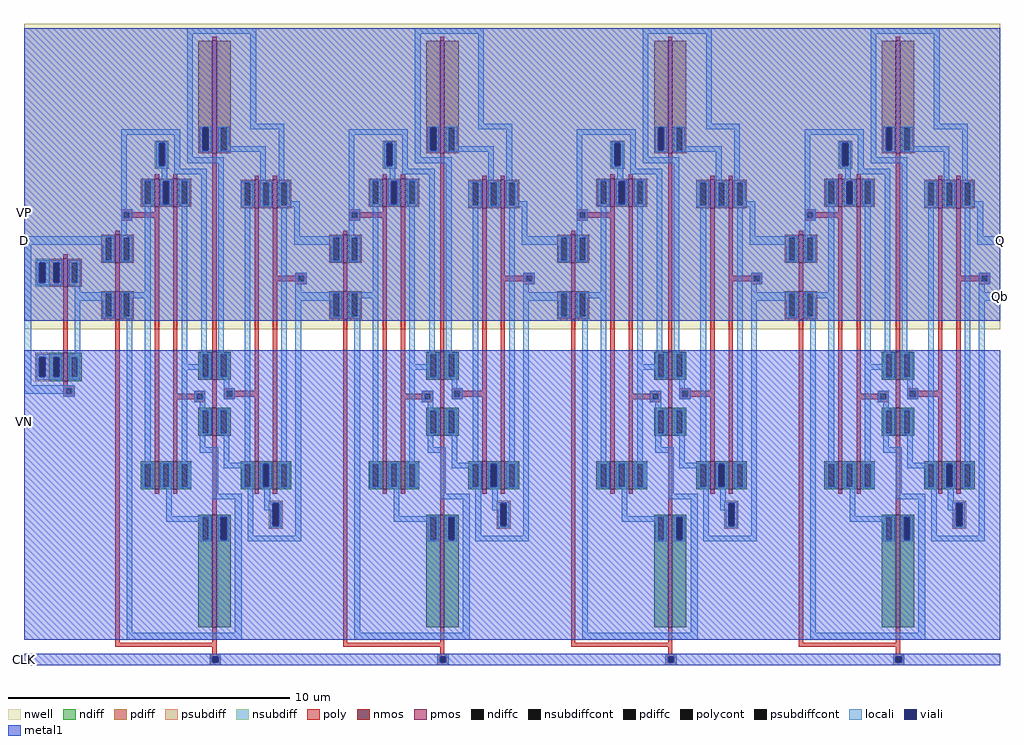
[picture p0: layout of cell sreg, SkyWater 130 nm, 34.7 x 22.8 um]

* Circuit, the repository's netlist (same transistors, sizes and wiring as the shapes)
* NGSPICE file created from sreg.ext - technology: sky130A

.subckt sreg_inverter A Y VP VN
X0 Y A VN VN sky130_fd_pr__nfet_01v8 ad=0.5 pd=3 as=0.5 ps=3 w=1 l=0.15
X1 Y A VP VP sky130_fd_pr__pfet_01v8 ad=0.5 pd=3 as=0.5 ps=3 w=1 l=0.15
.ends

.subckt d_flipflop Db D Q Qb VP VN CLK
X0 a_n230_1560# a_n230_1160# VP VP sky130_fd_pr__pfet_01v8 ad=0.5 pd=3 as=0.25 ps=1.5 w=1 l=0.15
X1 a_n230_1560# a_n230_1160# a_50_n50# VN sky130_fd_pr__nfet_01v8 ad=0.5 pd=3 as=0.25 ps=1.5 w=1 l=0.15
X2 Qb CLK a_n230_1160# VN sky130_fd_pr__nfet_01v8 ad=0.5 pd=3 as=0.5 ps=3 w=1 l=0.15
X3 a_460_2340# CLK VP VP sky130_fd_pr__pfet_01v8 ad=2 pd=9 as=2 ps=9 w=4 l=0.15
X4 Q Qb a_460_2340# VP sky130_fd_pr__pfet_01v8 ad=0.5 pd=3 as=0.25 ps=1.5 w=1 l=0.15
X5 a_460_2340# Q Qb VP sky130_fd_pr__pfet_01v8 ad=0.25 pd=1.5 as=0.5 ps=3 w=1 l=0.15
X6 a_50_n50# a_n230_1560# a_n230_1160# VN sky130_fd_pr__nfet_01v8 ad=0.25 pd=1.5 as=0.5 ps=3 w=1 l=0.15
X7 a_n230_1560# CLK D VP sky130_fd_pr__pfet_01v8 ad=0.5 pd=3 as=0.5 ps=3 w=1 l=0.15
X8 Q Qb VN VN sky130_fd_pr__nfet_01v8 ad=0.5 pd=3 as=0.25 ps=1.5 w=1 l=0.15
X9 VN Q Qb VN sky130_fd_pr__nfet_01v8 ad=0.25 pd=1.5 as=0.5 ps=3 w=1 l=0.15
X10 VN CLK a_50_n50# VN sky130_fd_pr__nfet_01v8 ad=2 pd=9 as=2 ps=9 w=4 l=0.15
X11 VP a_n230_1560# a_n230_1160# VP sky130_fd_pr__pfet_01v8 ad=0.25 pd=1.5 as=0.5 ps=3 w=1 l=0.15
X12 Q CLK a_n230_1560# VN sky130_fd_pr__nfet_01v8 ad=0.5 pd=3 as=0.5 ps=3 w=1 l=0.15
X13 a_n230_1160# CLK Db VP sky130_fd_pr__pfet_01v8 ad=0.5 pd=3 as=0.5 ps=3 w=1 l=0.15
.ends


* Top level circuit sreg

Xsreg_inverter_0 D d_flipflop_0/Db VP VN sreg_inverter
Xd_flipflop_0 d_flipflop_0/Db D d_flipflop_1/D d_flipflop_1/Db VP VN CLK d_flipflop
Xd_flipflop_1 d_flipflop_1/Db d_flipflop_1/D d_flipflop_2/D d_flipflop_2/Db VP VN
+ CLK d_flipflop
Xd_flipflop_2 d_flipflop_2/Db d_flipflop_2/D d_flipflop_3/D d_flipflop_3/Db VP VN
+ CLK d_flipflop
Xd_flipflop_3 d_flipflop_3/Db d_flipflop_3/D Q Qb VP VN CLK d_flipflop
.end

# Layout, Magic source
magic
tech sky130A
<< locali >>
rect 0 1495 230 1525
rect 3450 1495 3470 1525
rect 0 980 25 1495
rect 3450 1295 3470 1325
<< metal1 >>
rect 0 1225 20 2265
rect 0 90 20 1120
rect 0 0 240 40
use d_flipflop  d_flipflop_0
transform 1 0 455 0 1 650
box -240 -650 585 1630
use d_flipflop  d_flipflop_1
transform 1 0 1265 0 1 650
box -240 -650 585 1630
use d_flipflop  d_flipflop_2
transform 1 0 2075 0 1 650
box -240 -650 585 1630
use d_flipflop  d_flipflop_3
transform 1 0 2885 0 1 650
box -240 -650 585 1630
use sreg_inverter  sreg_inverter_0
transform 1 0 35 0 1 0
box -35 90 195 2280
<< labels >>
rlabel locali 3470 1310 3470 1310 3 Qb
rlabel locali 3470 1510 3470 1510 3 Q
rlabel metal1 0 865 0 865 7 VN
rlabel metal1 0 1610 0 1610 7 VP
rlabel metal1 0 20 0 20 7 CLK
rlabel locali 0 1510 0 1510 7 D
<< end >>

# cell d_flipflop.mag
magic
tech sky130A
<< nwell >>
rect -240 545 585 1630
<< nmos >>
rect 215 365 230 465
rect 215 165 230 265
rect 10 -25 25 75
rect 75 -25 90 75
rect 365 -25 380 75
rect 430 -25 445 75
rect 215 -515 230 -115
<< pmos >>
rect 215 1170 230 1570
rect 10 980 25 1080
rect 75 980 90 1080
rect -130 780 -115 880
rect -130 580 -115 680
rect 365 975 380 1075
rect 430 975 445 1075
<< ndiff >>
rect 165 455 215 465
rect 165 375 180 455
rect 200 375 215 455
rect 165 365 215 375
rect 230 455 280 465
rect 230 375 245 455
rect 265 375 280 455
rect 230 365 280 375
rect 165 255 215 265
rect 165 175 180 255
rect 200 175 215 255
rect 165 165 215 175
rect 230 255 280 265
rect 230 175 245 255
rect 265 175 280 255
rect 230 165 280 175
rect -40 65 10 75
rect -40 -15 -25 65
rect -5 -15 10 65
rect -40 -25 10 -15
rect 25 65 75 75
rect 25 -15 40 65
rect 60 -15 75 65
rect 25 -25 75 -15
rect 90 65 140 75
rect 90 -15 105 65
rect 125 -15 140 65
rect 90 -25 140 -15
rect 315 65 365 75
rect 315 -15 330 65
rect 350 -15 365 65
rect 315 -25 365 -15
rect 380 65 430 75
rect 380 -15 395 65
rect 415 -15 430 65
rect 380 -25 430 -15
rect 445 65 495 75
rect 445 -15 460 65
rect 480 -15 495 65
rect 445 -25 495 -15
rect 165 -125 215 -115
rect 165 -205 180 -125
rect 200 -205 215 -125
rect 165 -515 215 -205
rect 230 -125 280 -115
rect 230 -205 245 -125
rect 265 -205 280 -125
rect 230 -515 280 -205
<< pdiff >>
rect 165 1260 215 1570
rect 165 1180 180 1260
rect 200 1180 215 1260
rect 165 1170 215 1180
rect 230 1260 280 1570
rect 230 1180 245 1260
rect 265 1180 280 1260
rect 230 1170 280 1180
rect -40 1070 10 1080
rect -40 990 -25 1070
rect -5 990 10 1070
rect -40 980 10 990
rect 25 1070 75 1080
rect 25 990 40 1070
rect 60 990 75 1070
rect 25 980 75 990
rect 90 1070 140 1080
rect 90 990 105 1070
rect 125 990 140 1070
rect 90 980 140 990
rect -180 870 -130 880
rect -180 790 -165 870
rect -145 790 -130 870
rect -180 780 -130 790
rect -115 870 -65 880
rect -115 790 -100 870
rect -80 790 -65 870
rect -115 780 -65 790
rect -180 670 -130 680
rect -180 590 -165 670
rect -145 590 -130 670
rect -180 580 -130 590
rect -115 670 -65 680
rect -115 590 -100 670
rect -80 590 -65 670
rect -115 580 -65 590
rect 315 1065 365 1075
rect 315 985 330 1065
rect 350 985 365 1065
rect 315 975 365 985
rect 380 1065 430 1075
rect 380 985 395 1065
rect 415 985 430 1065
rect 380 975 430 985
rect 445 1065 495 1075
rect 445 985 460 1065
rect 480 985 495 1065
rect 445 975 495 985
<< ndiffc >>
rect 180 375 200 455
rect 245 375 265 455
rect 180 175 200 255
rect 245 175 265 255
rect -25 -15 -5 65
rect 40 -15 60 65
rect 105 -15 125 65
rect 330 -15 350 65
rect 395 -15 415 65
rect 460 -15 480 65
rect 180 -205 200 -125
rect 245 -205 265 -125
<< pdiffc >>
rect 180 1180 200 1260
rect 245 1180 265 1260
rect -25 990 -5 1070
rect 40 990 60 1070
rect 105 990 125 1070
rect -165 790 -145 870
rect -100 790 -80 870
rect -165 590 -145 670
rect -100 590 -80 670
rect 330 985 350 1065
rect 395 985 415 1065
rect 460 985 480 1065
<< psubdiff >>
rect 415 -75 465 -65
rect 415 -155 430 -75
rect 450 -155 465 -75
rect 415 -165 465 -155
<< nsubdiff >>
rect 10 1205 60 1215
rect 10 1125 25 1205
rect 45 1125 60 1205
rect 10 1115 60 1125
<< psubdiffcont >>
rect 430 -155 450 -75
<< nsubdiffcont >>
rect 25 1125 45 1205
<< poly >>
rect 215 1570 230 1585
rect 10 1080 25 1095
rect 75 1080 90 1095
rect -110 960 -70 970
rect 10 960 25 980
rect -110 940 -100 960
rect -80 940 25 960
rect -110 930 -70 940
rect -130 880 -115 895
rect -130 680 -115 780
rect -130 -570 -115 580
rect 10 75 25 940
rect 75 315 90 980
rect 215 465 230 1170
rect 365 1075 380 1090
rect 430 1075 445 1090
rect 150 315 190 325
rect 75 295 160 315
rect 180 295 190 315
rect 75 75 90 295
rect 150 285 190 295
rect 215 265 230 365
rect 255 325 295 335
rect 365 325 380 975
rect 255 305 265 325
rect 285 305 380 325
rect 255 295 295 305
rect 10 -40 25 -25
rect 75 -40 90 -25
rect 215 -115 230 165
rect 365 75 380 305
rect 430 735 445 975
rect 510 735 550 745
rect 430 715 520 735
rect 540 715 550 735
rect 430 75 445 715
rect 510 705 550 715
rect 365 -40 380 -25
rect 430 -40 445 -25
rect 215 -570 230 -515
rect -130 -585 230 -570
rect 215 -610 230 -585
rect 205 -620 245 -610
rect 205 -640 215 -620
rect 235 -640 245 -620
rect 205 -650 245 -640
<< polycont >>
rect -100 940 -80 960
rect 160 295 180 315
rect 265 305 285 325
rect 520 715 540 735
rect 215 -640 235 -620
<< locali >>
rect 125 1595 370 1615
rect -110 1235 100 1255
rect -110 970 -90 1235
rect 15 1205 55 1210
rect 15 1125 25 1205
rect 45 1125 55 1205
rect 15 1120 55 1125
rect 35 1075 55 1120
rect 80 1115 100 1235
rect 125 1155 145 1595
rect 350 1275 370 1595
rect 170 1260 210 1265
rect 170 1180 180 1260
rect 200 1180 210 1260
rect 170 1175 210 1180
rect 235 1260 275 1265
rect 235 1180 245 1260
rect 265 1195 275 1260
rect 350 1255 470 1275
rect 265 1180 405 1195
rect 235 1175 405 1180
rect 125 1135 255 1155
rect 80 1095 195 1115
rect -35 1070 5 1075
rect -35 990 -25 1070
rect -5 990 5 1070
rect -35 985 5 990
rect 30 1070 70 1075
rect 30 990 40 1070
rect 60 990 70 1070
rect 30 985 70 990
rect 95 1070 135 1075
rect 95 990 105 1070
rect 125 990 135 1070
rect 95 985 135 990
rect -110 960 -70 970
rect -110 940 -100 960
rect -80 940 -70 960
rect -110 930 -70 940
rect -110 875 -90 930
rect -240 870 -135 875
rect -240 845 -165 870
rect -175 790 -165 845
rect -145 790 -135 870
rect -175 785 -135 790
rect -110 870 -70 875
rect -110 790 -100 870
rect -80 790 -70 870
rect -110 785 -70 790
rect -25 675 -5 985
rect -240 670 -135 675
rect -240 645 -165 670
rect -175 590 -165 645
rect -145 590 -135 670
rect -175 585 -135 590
rect -110 670 -5 675
rect -110 590 -100 670
rect -80 655 -5 670
rect -80 590 -70 655
rect -110 585 -70 590
rect -90 -535 -70 585
rect -25 70 -5 655
rect 105 420 125 985
rect 175 460 195 1095
rect 235 460 255 1135
rect 385 1070 405 1175
rect 450 1070 470 1255
rect 315 1065 360 1070
rect 315 985 330 1065
rect 350 985 360 1065
rect 315 980 360 985
rect 385 1065 425 1070
rect 385 985 395 1065
rect 415 985 425 1065
rect 385 980 425 985
rect 450 1065 490 1070
rect 450 985 460 1065
rect 480 1000 490 1065
rect 480 985 525 1000
rect 450 980 525 985
rect 170 455 210 460
rect 170 420 180 455
rect 105 400 180 420
rect 105 70 125 400
rect 170 375 180 400
rect 200 375 210 455
rect 170 370 210 375
rect 235 455 275 460
rect 235 375 245 455
rect 265 375 275 455
rect 235 370 275 375
rect 255 335 275 370
rect 255 325 295 335
rect 150 315 190 325
rect 150 295 160 315
rect 180 295 190 315
rect 255 305 265 325
rect 285 305 295 325
rect 255 295 295 305
rect 150 285 190 295
rect 170 260 190 285
rect 170 255 210 260
rect 170 175 180 255
rect 200 175 210 255
rect 170 170 210 175
rect 235 255 275 260
rect 235 175 245 255
rect 265 175 275 255
rect 235 170 275 175
rect 170 125 190 170
rect 170 105 235 125
rect -35 65 5 70
rect -35 -15 -25 65
rect -5 -15 5 65
rect -35 -20 5 -15
rect 30 65 70 70
rect 30 -15 40 65
rect 60 -15 70 65
rect 30 -20 70 -15
rect 95 65 140 70
rect 95 -15 105 65
rect 125 -15 140 65
rect 95 -20 140 -15
rect 50 -120 70 -20
rect 215 -40 235 105
rect 255 70 275 170
rect 330 70 350 980
rect 460 70 480 980
rect 505 875 525 980
rect 505 845 585 875
rect 510 735 550 745
rect 510 715 520 735
rect 540 715 550 735
rect 510 705 550 715
rect 510 675 530 705
rect 510 645 585 675
rect 255 65 360 70
rect 255 50 330 65
rect 320 -15 330 50
rect 350 -15 360 65
rect 320 -20 360 -15
rect 385 65 425 70
rect 385 -15 395 65
rect 415 -15 425 65
rect 385 -20 425 -15
rect 450 65 490 70
rect 450 -15 460 65
rect 480 -15 490 65
rect 450 -20 490 -15
rect 215 -60 320 -40
rect 50 -125 210 -120
rect 50 -140 180 -125
rect 170 -205 180 -140
rect 200 -205 210 -125
rect 170 -210 210 -205
rect 235 -125 275 -120
rect 235 -205 245 -125
rect 265 -205 275 -125
rect 235 -210 275 -205
rect 295 -535 320 -60
rect 340 -190 360 -20
rect 400 -70 420 -20
rect 400 -75 460 -70
rect 400 -100 430 -75
rect 420 -155 430 -100
rect 450 -155 460 -75
rect 420 -160 460 -155
rect 510 -190 530 645
rect 340 -210 530 -190
rect -90 -560 320 -535
rect 205 -620 245 -610
rect 205 -640 215 -620
rect 235 -640 245 -620
rect 205 -650 245 -640
<< viali >>
rect 25 1125 45 1205
rect 180 1180 200 1260
rect 40 990 60 1070
rect 395 -15 415 65
rect 245 -205 265 -125
rect 430 -155 450 -75
rect 215 -640 235 -620
<< metal1 >>
rect -240 1260 585 1615
rect -240 1205 180 1260
rect -240 1125 25 1205
rect 45 1180 180 1205
rect 200 1180 585 1260
rect 45 1125 585 1180
rect -240 1070 585 1125
rect -240 990 40 1070
rect 60 990 585 1070
rect -240 575 585 990
rect -240 65 585 470
rect -240 -15 395 65
rect 415 -15 585 65
rect -240 -75 585 -15
rect -240 -125 430 -75
rect -240 -205 245 -125
rect 265 -155 430 -125
rect 450 -155 585 -75
rect 265 -205 585 -155
rect -240 -560 585 -205
rect -240 -620 585 -610
rect -240 -640 215 -620
rect 235 -640 585 -620
rect -240 -650 585 -640
<< labels >>
rlabel locali -240 660 -240 660 7 Db
port 1 w
rlabel locali -240 860 -240 860 7 D
port 2 w
rlabel locali 585 860 585 860 3 Q
port 3 e
rlabel metal1 -240 1030 -240 1030 7 VP
port 5 w
rlabel metal1 -240 25 -240 25 7 VN
port 6 w
rlabel metal1 225 -650 225 -650 5 CLK
port 7 s
rlabel locali 585 660 585 660 3 Qb
port 4 e
<< end >>

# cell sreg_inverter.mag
magic
tech sky130A
<< nwell >>
rect -35 1195 195 2280
<< nmos >>
rect 105 1010 120 1110
<< pmos >>
rect 105 1345 120 1445
<< ndiff >>
rect 55 1095 105 1110
rect 55 1025 70 1095
rect 90 1025 105 1095
rect 55 1010 105 1025
rect 120 1095 170 1110
rect 120 1025 135 1095
rect 155 1025 170 1095
rect 120 1010 170 1025
<< pdiff >>
rect 55 1430 105 1445
rect 55 1360 70 1430
rect 90 1360 105 1430
rect 55 1345 105 1360
rect 120 1430 170 1445
rect 120 1360 135 1430
rect 155 1360 170 1430
rect 120 1345 170 1360
<< ndiffc >>
rect 70 1025 90 1095
rect 135 1025 155 1095
<< pdiffc >>
rect 70 1360 90 1430
rect 135 1360 155 1430
<< psubdiff >>
rect 5 1095 55 1110
rect 5 1025 20 1095
rect 40 1025 55 1095
rect 5 1010 55 1025
<< nsubdiff >>
rect 5 1430 55 1445
rect 5 1360 20 1430
rect 40 1360 55 1430
rect 5 1345 55 1360
<< psubdiffcont >>
rect 20 1025 40 1095
<< nsubdiffcont >>
rect 20 1360 40 1430
<< poly >>
rect 105 1445 120 1460
rect 105 1110 120 1345
rect 105 995 120 1010
rect 105 985 145 995
rect 105 965 115 985
rect 135 965 145 985
rect 105 955 145 965
<< polycont >>
rect 115 965 135 985
<< locali >>
rect 10 1430 100 1440
rect 10 1360 20 1430
rect 40 1360 70 1430
rect 90 1360 100 1430
rect 10 1350 100 1360
rect 125 1430 165 1440
rect 125 1360 135 1430
rect 155 1360 165 1430
rect 125 1350 165 1360
rect 145 1325 165 1350
rect 145 1295 195 1325
rect 145 1105 165 1295
rect 10 1095 100 1105
rect 10 1025 20 1095
rect 40 1025 70 1095
rect 90 1025 100 1095
rect 10 1015 100 1025
rect 125 1095 165 1105
rect 125 1025 135 1095
rect 155 1025 165 1095
rect 125 1015 165 1025
rect -35 985 145 995
rect -35 965 115 985
rect 135 965 145 985
rect 105 955 145 965
<< viali >>
rect 20 1360 40 1430
rect 70 1360 90 1430
rect 20 1025 40 1095
rect 70 1025 90 1095
<< metal1 >>
rect -35 1430 195 2265
rect -35 1360 20 1430
rect 40 1360 70 1430
rect 90 1360 195 1430
rect -35 1225 195 1360
rect -35 1095 195 1120
rect -35 1025 20 1095
rect 40 1025 70 1095
rect 90 1025 195 1095
rect -35 90 195 1025
<< labels >>
rlabel metal1 -35 1610 -35 1610 7 VP
port 3 w
rlabel metal1 -35 865 -35 865 7 VN
port 4 w
rlabel locali 195 1310 195 1310 3 Y
port 2 e
rlabel locali -35 980 -35 980 7 A
port 1 w
<< end >>
